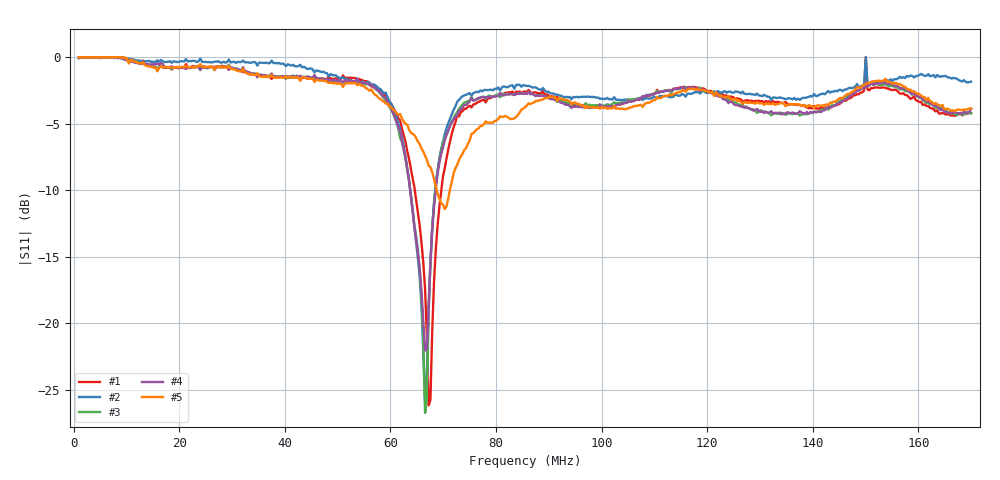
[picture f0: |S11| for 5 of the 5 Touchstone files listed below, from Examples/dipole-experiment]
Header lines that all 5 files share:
! Touchstone file generated by AntScopeKit
# MHz S RI R 50
! Format: Frequency S-real S-imaginary (normalized to 50 Ohm)
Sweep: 1 MHz to 170 MHz
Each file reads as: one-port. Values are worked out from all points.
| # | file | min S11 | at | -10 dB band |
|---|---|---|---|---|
| 1 | 2-feedline-1.66m-repeat.s1p | -26.2 dB | 67.25 MHz | 5.028 MHz wide |
| 2 | 3-feedline-0.65m.s1p | -26.0 dB | 66.57 MHz | 4.742 MHz wide |
| 3 | 4-feedline-1.66m-restored.s1p | -26.7 dB | 66.57 MHz | 4.728 MHz wide |
| 4 | 5-arms-realigned.s1p | -22.1 dB | 66.57 MHz | 4.833 MHz wide |
| 5 | 6-moved-clear-of-obstacles.s1p | -11.4 dB | 70.29 MHz | 2.468 MHz wide |
